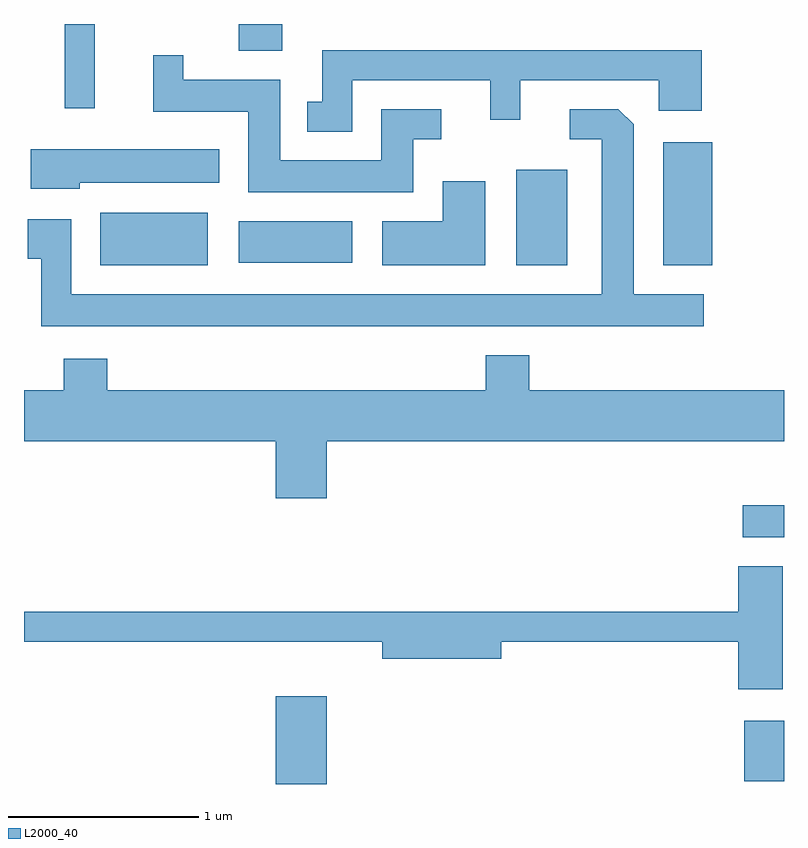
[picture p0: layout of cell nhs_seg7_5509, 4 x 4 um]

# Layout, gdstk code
import gdstk
lib = gdstk.Library(unit=1e-6, precision=1e-09)
def R(c, l, rs):  # rectangles x0, y0, x1, y1
    for r in rs: c.add(gdstk.rectangle(r[:2], r[2:], *l))
def P(c, l, *ps):  # polygons
    for p in ps: c.add(gdstk.Polygon(p, *l))
L2000_40 = (2000, 40)

nhs_seg7_5509 = lib.new_cell('nhs_seg7_5509')
R(nhs_seg7_5509, L2000_40, [(354.936,1750.252,355.204,1750.714), (357.401,1750.266,357.611,1750.584), (357.393,1751.551,357.611,1751.719), (354.011,1752.981,354.579,1753.259), (356.201,1752.981,356.469,1753.484), (356.976,1752.981,357.234,1753.629), (354.741,1752.996,355.339,1753.214), (353.826,1753.808,353.984,1754.252), (354.741,1754.111,354.969,1754.252)])
P(nhs_seg7_5509, L2000_40, [(355.339,1753.956),(356.066,1753.956),(356.066,1753.748),(356.224,1753.748),(356.224,1753.956),(356.951,1753.956),(356.951,1753.796),(357.179,1753.796),(357.179,1754.114),(355.181,1754.114),(355.181,1753.844),(355.103,1753.844),(355.103,1753.686),(355.339,1753.686)],
  [(355.659,1753.646),(355.808,1753.646),(355.808,1753.804),(355.491,1753.804),(355.491,1753.534),(354.959,1753.534),(354.959,1753.959),(354.449,1753.959),(354.449,1754.088),(354.291,1754.088),(354.291,1753.791),(354.791,1753.791),(354.791,1753.366),(355.659,1753.366)],
  [(357.188,1752.829),(356.819,1752.829),(356.819,1753.724),(356.739,1753.804),(356.483,1753.804),(356.483,1753.646),(356.651,1753.646),(356.651,1752.829),(353.859,1752.829),(353.859,1753.224),(353.631,1753.224),(353.631,1753.016),(353.701,1753.016),(353.701,1752.661),(357.188,1752.661)],
  [(353.904,1753.416),(354.639,1753.416),(354.639,1753.594),(353.646,1753.594),(353.646,1753.386),(353.904,1753.386)],
  [(356.039,1753.424),(355.816,1753.424),(355.816,1753.214),(355.496,1753.214),(355.496,1752.981),(356.039,1752.981)],
  [(355.204,1752.056),(357.611,1752.056),(357.611,1752.324),(356.269,1752.324),(356.269,1752.509),(356.041,1752.509),(356.041,1752.324),(354.049,1752.324),(354.049,1752.489),(353.821,1752.489),(353.821,1752.324),(353.611,1752.324),(353.611,1752.056),(354.936,1752.056),(354.936,1751.756),(355.204,1751.756)],
  [(357.604,1751.399),(357.371,1751.399),(357.371,1751.159),(353.611,1751.159),(353.611,1751.001),(355.496,1751.001),(355.496,1750.911),(356.124,1750.911),(356.124,1751.001),(357.371,1751.001),(357.371,1750.751),(357.604,1750.751)])

lib.write_gds('nhs_seg7_5509.gds')
